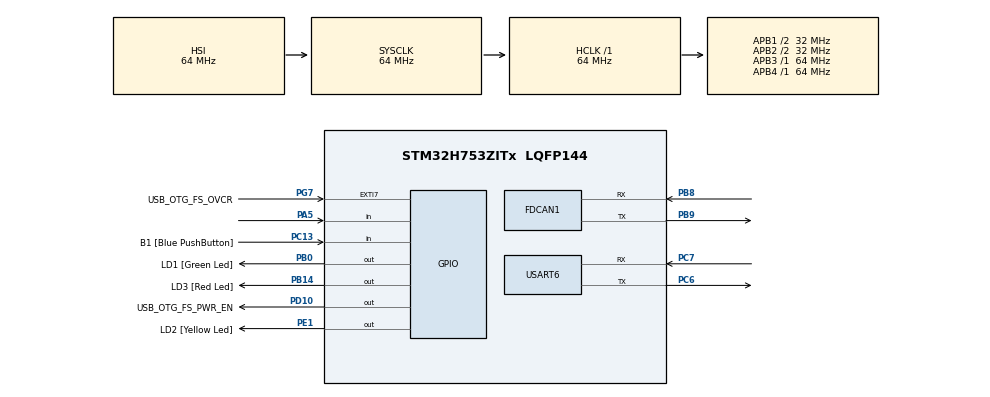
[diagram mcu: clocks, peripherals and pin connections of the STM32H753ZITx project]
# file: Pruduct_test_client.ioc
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CORTEX_M7.CPU_DCache=Disabled
CORTEX_M7.CPU_ICache=Disabled
CORTEX_M7.MPU_Control=__NULL
FDCAN1.AutoRetransmission=ENABLE
FDCAN1.CalculateBaudRateNominal=500000
FDCAN1.CalculateTimeBitNominal=2000
FDCAN1.CalculateTimeQuantumNominal=100.0
FDCAN1.DataPrescaler=5
FDCAN1.DataSyncJumpWidth=12
FDCAN1.DataTimeSeg1=4
FDCAN1.DataTimeSeg2=5
FDCAN1.FrameFormat=FDCAN_FRAME_FD_BRS
FDCAN1.NominalPrescaler=6
FDCAN1.NominalSyncJumpWidth=13
FDCAN1.NominalTimeSeg1=13
FDCAN1.NominalTimeSeg2=6
FDCAN1.RxBuffersNbr=1
FDCAN1.StdFiltersNbr=1
FDCAN1.TxBuffersNbr=1
Mcu.Family=STM32H7
Mcu.Name=STM32H753ZITx
Mcu.Package=LQFP144
NVIC.FDCAN1_IT0_IRQn=true\:0\:0\:false\:false\:true\:true\:true\:true
NVIC.FDCAN1_IT1_IRQn=true\:0\:0\:false\:false\:true\:true\:true\:true
NVIC.PriorityGroup=NVIC_PRIORITYGROUP_4
NVIC.USART6_IRQn=true\:0\:0\:false\:false\:true\:true\:true\:true
PA1.Signal=ETH_REF_CLK
PA11.Signal=USB_OTG_FS_DM
PA12.Signal=USB_OTG_FS_DP
PA13\ (JTMS/SWDIO).Mode=Serial_Wire
PA13\ (JTMS/SWDIO).Signal=DEBUG_JTMS-SWDIO
PA14\ (JTCK/SWCLK).Mode=Serial_Wire
PA14\ (JTCK/SWCLK).Signal=DEBUG_JTCK-SWCLK
PA2.Signal=ETH_MDIO
PA5.Signal=GPIO_Input
PA7.Signal=ETH_CRS_DV
PA8.Signal=USB_OTG_FS_SOF
PA9.Signal=USB_OTG_FS_VBUS
PB0.GPIO_Label=LD1 [Green Led]
PB0.Signal=GPIO_Output
PB13.Signal=ETH_TXD1
PB14.GPIO_Label=LD3 [Red Led]
PB14.Signal=GPIO_Output
PB8.Mode=FDCAN_Activate
PB8.Signal=FDCAN1_RX
PB9.Mode=FDCAN_Activate
PB9.Signal=FDCAN1_TX
PC1.Signal=ETH_MDC
PC13.GPIO_Label=B1 [Blue PushButton]
PC13.Signal=GPIO_Input
PC14-OSC32_IN\ (OSC32_IN).Mode=LSE-External-Oscillator
PC14-OSC32_IN\ (OSC32_IN).Signal=RCC_OSC32_IN
PC15-OSC32_OUT\ (OSC32_OUT).Mode=LSE-External-Oscillator
PC15-OSC32_OUT\ (OSC32_OUT).Signal=RCC_OSC32_OUT
PC4.Signal=ETH_RXD0
PC5.Signal=ETH_RXD1
PC6.Mode=Asynchronous
PC6.Signal=USART6_TX
PC7.Mode=Asynchronous
PC7.Signal=USART6_RX
PD10.GPIO_Label=USB_OTG_FS_PWR_EN
PD10.Signal=GPIO_Output
PD8.GPIO_Label=STLINK_RX
PD8.Signal=USART3_TX
PD9.GPIO_Label=STLINK_TX
PD9.Signal=USART3_RX
PE1.GPIO_Label=LD2 [Yellow Led]
PE1.Signal=GPIO_Output
PG11.Signal=ETH_TX_EN
PG13.Signal=ETH_TXD0
PG7.GPIO_Label=USB_OTG_FS_OVCR
PG7.Signal=GPXTI7
PH0-OSC_IN\ (PH0).Mode=HSE-External-Clock-Source
PH0-OSC_IN\ (PH0).Signal=RCC_OSC_IN
PH1-OSC_OUT\ (PH1).Signal=RCC_OSC_OUT
ProjectManager.HeapSize=0x200
ProjectManager.StackSize=0x400
ProjectManager.TargetToolchain=STM32CubeIDE
RCC.ADCFreq_Value=16125000
RCC.APB1Freq_Value=32000000
RCC.APB2Freq_Value=32000000
RCC.APB3Freq_Value=64000000
RCC.APB4Freq_Value=64000000
RCC.CortexFreq_Value=64000000
RCC.D2PPRE1=RCC_APB1_DIV2
RCC.D2PPRE2=RCC_APB2_DIV2
RCC.DIVM1=1
RCC.DIVN1=30
RCC.DIVQ1=4
RCC.HCLKFreq_Value=64000000
RCC.HSE_VALUE=8000000
RCC.PLL2FRACN=0
RCC.PLL3FRACN=0
RCC.PLLFRACN=0
RCC.PLLSourceVirtual=RCC_PLLSOURCE_HSE
RCC.PWR_Regulator_Voltage_Scale=PWR_REGULATOR_VOLTAGE_SCALE2
RCC.SYSCLKFreq_VALUE=64000000
RCC.USBFreq_Value=60000000
USART6.VirtualMode-Asynchronous=VM_ASYNC
VP_MEMORYMAP_VS_MEMORYMAP.Mode=CurAppReg
board=NUCLEO-H753ZI

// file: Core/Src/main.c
/* USER CODE BEGIN Header */
/**
 ******************************************************************************
 * @file           : main.c
 * @brief          : Main program body
 ******************************************************************************
 * @attention
 *
 * Copyright (c) 2024 STMicroelectronics.
 * All rights reserved.
 *
 * This software is licensed under terms that can be found in the LICENSE file
 * in the root directory of this software component.
 * If no LICENSE file comes with this software, it is provided AS-IS.
 *
 ******************************************************************************
 */
/* USER CODE END Header */
#include "main.h"

FDCAN_HandleTypeDef hfdcan1;

UART_HandleTypeDef huart6;

/* USER CODE BEGIN PV */
static uint8_t uart_buf[1] = { 0 };
FDCAN_TxHeaderTypeDef TxHeader;
uint8_t TxData[8] = { 0xA0, 0x5D };
FDCAN_RxHeaderTypeDef RxHeader;
uint8_t RxData[2];
/* USER CODE END PV */

void SystemClock_Config(void);
static void MX_GPIO_Init(void);
static void MX_USART6_UART_Init(void);
static void MX_FDCAN1_Init(void);
/* USER CODE BEGIN PFP */
static void FDCAN_Config(void);
/* USER CODE END PFP */

int main(void)
{

  /* MCU Configuration--------------------------------------------------------*/

  /* Reset of all peripherals, Initializes the Flash interface and the Systick. */
  HAL_Init();

  /* Configure the system clock */
  SystemClock_Config();

  /* Initialize all configured peripherals */
  MX_GPIO_Init();
  MX_USART6_UART_Init();
  MX_FDCAN1_Init();
  /* USER CODE BEGIN 2 */
	FDCAN_Config();
	if (HAL_UART_Receive_IT(&huart6, uart_buf, 1) != HAL_OK) {
		Error_Handler();
	}
	/*
	if (HAL_FDCAN_EnableTxBufferRequest(&hfdcan1, FDCAN_TX_BUFFER0) != HAL_OK) {
		Error_Handler();
	}
	*/
  /* USER CODE END 2 */

  /* Infinite loop */
	while (1) {

    /* USER CODE BEGIN 3 */
		HAL_GPIO_TogglePin(LD1_GPIO_Port, LD1_Pin);
		HAL_Delay(500);
	}
  /* USER CODE END 3 */
}

void SystemClock_Config(void)
{
  RCC_OscInitTypeDef RCC_OscInitStruct = {0};
  RCC_ClkInitTypeDef RCC_ClkInitStruct = {0};

  /** Supply configuration update enable
  */
  HAL_PWREx_ConfigSupply(PWR_LDO_SUPPLY);

  /** Configure the main internal regulator output voltage
  */
  __HAL_PWR_VOLTAGESCALING_CONFIG(PWR_REGULATOR_VOLTAGE_SCALE2);

  while(!__HAL_PWR_GET_FLAG(PWR_FLAG_VOSRDY)) {}

  /** Initializes the RCC Oscillators according to the specified parameters
  * in the RCC_OscInitTypeDef structure.
  */
  RCC_OscInitStruct.OscillatorType = RCC_OSCILLATORTYPE_HSI|RCC_OSCILLATORTYPE_HSE;
  RCC_OscInitStruct.HSEState = RCC_HSE_BYPASS;
  RCC_OscInitStruct.HSIState = RCC_HSI_DIV1;
  RCC_OscInitStruct.HSICalibrationValue = RCC_HSICALIBRATION_DEFAULT;
  RCC_OscInitStruct.PLL.PLLState = RCC_PLL_ON;
  RCC_OscInitStruct.PLL.PLLSource = RCC_PLLSOURCE_HSE;
  RCC_OscInitStruct.PLL.PLLM = 1;
  RCC_OscInitStruct.PLL.PLLN = 30;
  RCC_OscInitStruct.PLL.PLLP = 2;
  RCC_OscInitStruct.PLL.PLLQ = 4;
  RCC_OscInitStruct.PLL.PLLR = 2;
  RCC_OscInitStruct.PLL.PLLRGE = RCC_PLL1VCIRANGE_3;
  RCC_OscInitStruct.PLL.PLLVCOSEL = RCC_PLL1VCOWIDE;
  RCC_OscInitStruct.PLL.PLLFRACN = 0;
  if (HAL_RCC_OscConfig(&RCC_OscInitStruct) != HAL_OK)
  {
    Error_Handler();
  }

  /** Initializes the CPU, AHB and APB buses clocks
  */
  RCC_ClkInitStruct.ClockType = RCC_CLOCKTYPE_HCLK|RCC_CLOCKTYPE_SYSCLK
                              |RCC_CLOCKTYPE_PCLK1|RCC_CLOCKTYPE_PCLK2
                              |RCC_CLOCKTYPE_D3PCLK1|RCC_CLOCKTYPE_D1PCLK1;
  RCC_ClkInitStruct.SYSCLKSource = RCC_SYSCLKSOURCE_HSI;
  RCC_ClkInitStruct.SYSCLKDivider = RCC_SYSCLK_DIV1;
  RCC_ClkInitStruct.AHBCLKDivider = RCC_HCLK_DIV1;
  RCC_ClkInitStruct.APB3CLKDivider = RCC_APB3_DIV1;
  RCC_ClkInitStruct.APB1CLKDivider = RCC_APB1_DIV2;
  RCC_ClkInitStruct.APB2CLKDivider = RCC_APB2_DIV2;
  RCC_ClkInitStruct.APB4CLKDivider = RCC_APB4_DIV1;

  if (HAL_RCC_ClockConfig(&RCC_ClkInitStruct, FLASH_LATENCY_1) != HAL_OK)
  {
    Error_Handler();
  }
}

static void MX_FDCAN1_Init(void)
{

  hfdcan1.Instance = FDCAN1;
  hfdcan1.Init.FrameFormat = FDCAN_FRAME_FD_BRS;
  hfdcan1.Init.Mode = FDCAN_MODE_NORMAL;
  hfdcan1.Init.AutoRetransmission = ENABLE;
  hfdcan1.Init.TransmitPause = DISABLE;
  hfdcan1.Init.ProtocolException = DISABLE;
  hfdcan1.Init.NominalPrescaler = 6;
  hfdcan1.Init.NominalSyncJumpWidth = 13;
  hfdcan1.Init.NominalTimeSeg1 = 13;
  hfdcan1.Init.NominalTimeSeg2 = 6;
  hfdcan1.Init.DataPrescaler = 5;
  hfdcan1.Init.DataSyncJumpWidth = 12;
  hfdcan1.Init.DataTimeSeg1 = 4;
  hfdcan1.Init.DataTimeSeg2 = 5;
  hfdcan1.Init.MessageRAMOffset = 0;
  hfdcan1.Init.StdFiltersNbr = 1;
  hfdcan1.Init.ExtFiltersNbr = 0;
  hfdcan1.Init.RxFifo0ElmtsNbr = 0;
  hfdcan1.Init.RxFifo0ElmtSize = FDCAN_DATA_BYTES_8;
  hfdcan1.Init.RxFifo1ElmtsNbr = 0;
  hfdcan1.Init.RxFifo1ElmtSize = FDCAN_DATA_BYTES_8;
  hfdcan1.Init.RxBuffersNbr = 1;
  hfdcan1.Init.RxBufferSize = FDCAN_DATA_BYTES_8;
  hfdcan1.Init.TxEventsNbr = 0;
  hfdcan1.Init.TxBuffersNbr = 1;
  hfdcan1.Init.TxFifoQueueElmtsNbr = 0;
  hfdcan1.Init.TxFifoQueueMode = FDCAN_TX_FIFO_OPERATION;
  hfdcan1.Init.TxElmtSize = FDCAN_DATA_BYTES_8;
  if (HAL_FDCAN_Init(&hfdcan1) != HAL_OK)
  {
    Error_Handler();
  }

}

static void MX_USART6_UART_Init(void)
{

  huart6.Instance = USART6;
  huart6.Init.BaudRate = 115200;
  huart6.Init.WordLength = UART_WORDLENGTH_8B;
  huart6.Init.StopBits = UART_STOPBITS_1;
  huart6.Init.Parity = UART_PARITY_NONE;
  huart6.Init.Mode = UART_MODE_TX_RX;
  huart6.Init.HwFlowCtl = UART_HWCONTROL_NONE;
  huart6.Init.OverSampling = UART_OVERSAMPLING_16;
  huart6.Init.OneBitSampling = UART_ONE_BIT_SAMPLE_DISABLE;
  huart6.Init.ClockPrescaler = UART_PRESCALER_DIV1;
  huart6.AdvancedInit.AdvFeatureInit = UART_ADVFEATURE_NO_INIT;
  if (HAL_UART_Init(&huart6) != HAL_OK)
  {
    Error_Handler();
  }
  if (HAL_UARTEx_SetTxFifoThreshold(&huart6, UART_TXFIFO_THRESHOLD_1_8) != HAL_OK)
  {
    Error_Handler();
  }
  if (HAL_UARTEx_SetRxFifoThreshold(&huart6, UART_RXFIFO_THRESHOLD_1_8) != HAL_OK)
  {
    Error_Handler();
  }
  if (HAL_UARTEx_DisableFifoMode(&huart6) != HAL_OK)
  {
    Error_Handler();
  }

}

static void MX_GPIO_Init(void)
{
  GPIO_InitTypeDef GPIO_InitStruct = {0};

  /* GPIO Ports Clock Enable */
  __HAL_RCC_GPIOC_CLK_ENABLE();
  __HAL_RCC_GPIOH_CLK_ENABLE();
  __HAL_RCC_GPIOA_CLK_ENABLE();
  __HAL_RCC_GPIOB_CLK_ENABLE();
  __HAL_RCC_GPIOD_CLK_ENABLE();
  __HAL_RCC_GPIOG_CLK_ENABLE();
  __HAL_RCC_GPIOE_CLK_ENABLE();

  /*Configure GPIO pin Output Level */
  HAL_GPIO_WritePin(GPIOB, LD1_Pin|LD3_Pin, GPIO_PIN_RESET);

  /*Configure GPIO pin Output Level */
  HAL_GPIO_WritePin(USB_OTG_FS_PWR_EN_GPIO_Port, USB_OTG_FS_PWR_EN_Pin, GPIO_PIN_RESET);

  /*Configure GPIO pin Output Level */
  HAL_GPIO_WritePin(LD2_GPIO_Port, LD2_Pin, GPIO_PIN_RESET);

  /*Configure GPIO pin : B1_Pin */
  GPIO_InitStruct.Pin = B1_Pin;
  GPIO_InitStruct.Mode = GPIO_MODE_INPUT;
  GPIO_InitStruct.Pull = GPIO_NOPULL;
  HAL_GPIO_Init(B1_GPIO_Port, &GPIO_InitStruct);

  /*Configure GPIO pins : PC1 PC4 PC5 */
  GPIO_InitStruct.Pin = GPIO_PIN_1|GPIO_PIN_4|GPIO_PIN_5;
  GPIO_InitStruct.Mode = GPIO_MODE_AF_PP;
  GPIO_InitStruct.Pull = GPIO_NOPULL;
  GPIO_InitStruct.Speed = GPIO_SPEED_FREQ_LOW;
  GPIO_InitStruct.Alternate = GPIO_AF11_ETH;
  HAL_GPIO_Init(GPIOC, &GPIO_InitStruct);

  /*Configure GPIO pins : PA1 PA2 PA7 */
  GPIO_InitStruct.Pin = GPIO_PIN_1|GPIO_PIN_2|GPIO_PIN_7;
  GPIO_InitStruct.Mode = GPIO_MODE_AF_PP;
  GPIO_InitStruct.Pull = GPIO_NOPULL;
  GPIO_InitStruct.Speed = GPIO_SPEED_FREQ_LOW;
  GPIO_InitStruct.Alternate = GPIO_AF11_ETH;
  HAL_GPIO_Init(GPIOA, &GPIO_InitStruct);

  /*Configure GPIO pin : PA5 */
  GPIO_InitStruct.Pin = GPIO_PIN_5;
  GPIO_InitStruct.Mode = GPIO_MODE_INPUT;
  GPIO_InitStruct.Pull = GPIO_NOPULL;
  HAL_GPIO_Init(GPIOA, &GPIO_InitStruct);

  /*Configure GPIO pins : LD1_Pin LD3_Pin */
  GPIO_InitStruct.Pin = LD1_Pin|LD3_Pin;
  GPIO_InitStruct.Mode = GPIO_MODE_OUTPUT_PP;
  GPIO_InitStruct.Pull = GPIO_NOPULL;
  GPIO_InitStruct.Speed = GPIO_SPEED_FREQ_LOW;
  HAL_GPIO_Init(GPIOB, &GPIO_InitStruct);

  /*Configure GPIO pin : PB13 */
  GPIO_InitStruct.Pin = GPIO_PIN_13;
  GPIO_InitStruct.Mode = GPIO_MODE_AF_PP;
  GPIO_InitStruct.Pull = GPIO_NOPULL;
  GPIO_InitStruct.Speed = GPIO_SPEED_FREQ_LOW;
  GPIO_InitStruct.Alternate = GPIO_AF11_ETH;
  HAL_GPIO_Init(GPIOB, &GPIO_InitStruct);

  /*Configure GPIO pins : STLINK_RX_Pin STLINK_TX_Pin */
  GPIO_InitStruct.Pin = STLINK_RX_Pin|STLINK_TX_Pin;
  GPIO_InitStruct.Mode = GPIO_MODE_AF_PP;
  GPIO_InitStruct.Pull = GPIO_NOPULL;
  GPIO_InitStruct.Speed = GPIO_SPEED_FREQ_LOW;
  GPIO_InitStruct.Alternate = GPIO_AF7_USART3;
  HAL_GPIO_Init(GPIOD, &GPIO_InitStruct);

  /*Configure GPIO pin : USB_OTG_FS_PWR_EN_Pin */
  GPIO_InitStruct.Pin = USB_OTG_FS_PWR_EN_Pin;
  GPIO_InitStruct.Mode = GPIO_MODE_OUTPUT_PP;
  GPIO_InitStruct.Pull = GPIO_NOPULL;
  GPIO_InitStruct.Speed = GPIO_SPEED_FREQ_LOW;
  HAL_GPIO_Init(USB_OTG_FS_PWR_EN_GPIO_Port, &GPIO_InitStruct);

  /*Configure GPIO pin : USB_OTG_FS_OVCR_Pin */
  GPIO_InitStruct.Pin = USB_OTG_FS_OVCR_Pin;
  GPIO_InitStruct.Mode = GPIO_MODE_IT_RISING;
  GPIO_InitStruct.Pull = GPIO_NOPULL;
  HAL_GPIO_Init(USB_OTG_FS_OVCR_GPIO_Port, &GPIO_InitStruct);

  /*Configure GPIO pins : PA8 PA11 PA12 */
  GPIO_InitStruct.Pin = GPIO_PIN_8|GPIO_PIN_11|GPIO_PIN_12;
  GPIO_InitStruct.Mode = GPIO_MODE_AF_PP;
  GPIO_InitStruct.Pull = GPIO_NOPULL;
  GPIO_InitStruct.Speed = GPIO_SPEED_FREQ_LOW;
  GPIO_InitStruct.Alternate = GPIO_AF10_OTG1_FS;
  HAL_GPIO_Init(GPIOA, &GPIO_InitStruct);

  /*Configure GPIO pins : PG11 PG13 */
  GPIO_InitStruct.Pin = GPIO_PIN_11|GPIO_PIN_13;
  GPIO_InitStruct.Mode = GPIO_MODE_AF_PP;
  GPIO_InitStruct.Pull = GPIO_NOPULL;
  GPIO_InitStruct.Speed = GPIO_SPEED_FREQ_LOW;
  GPIO_InitStruct.Alternate = GPIO_AF11_ETH;
  HAL_GPIO_Init(GPIOG, &GPIO_InitStruct);

  /*Configure GPIO pin : LD2_Pin */
  GPIO_InitStruct.Pin = LD2_Pin;
  GPIO_InitStruct.Mode = GPIO_MODE_OUTPUT_PP;
  GPIO_InitStruct.Pull = GPIO_NOPULL;
  GPIO_InitStruct.Speed = GPIO_SPEED_FREQ_LOW;
  HAL_GPIO_Init(LD2_GPIO_Port, &GPIO_InitStruct);

}

/* USER CODE BEGIN 4 */
void HAL_UART_RxCpltCallback(UART_HandleTypeDef *huart) {
	uint8_t c = uart_buf[0];
	HAL_UART_Transmit(huart, &c, 1, 100);
	HAL_UART_Receive_IT(&huart6, uart_buf, 1);
}
void HAL_UART_ErrorCallback(UART_HandleTypeDef *huart) {
}

static void FDCAN_Config(void) {
	FDCAN_FilterTypeDef sFilterConfig;

	/* Configure Rx filter */
	sFilterConfig.IdType = FDCAN_STANDARD_ID;
	sFilterConfig.FilterIndex = 0;
	//sFilterConfig.FilterType = FDCAN_FILTER_MASK;
	sFilterConfig.FilterConfig = FDCAN_FILTER_TO_RXBUFFER;
	sFilterConfig.FilterID2 = 0x321;
	sFilterConfig.RxBufferIndex = 0;
	//sFilterConfig.FilterID2 = 0x7FF;
	if (HAL_FDCAN_ConfigFilter(&hfdcan1, &sFilterConfig) != HAL_OK) {
		/* Filter configuration Error */
		Error_Handler();
	}
	/* Prepare Tx Header */
	TxHeader.Identifier = 0x1;
	TxHeader.IdType = FDCAN_STANDARD_ID;
	TxHeader.TxFrameType = FDCAN_DATA_FRAME;
	TxHeader.DataLength = FDCAN_DLC_BYTES_2;
	TxHeader.ErrorStateIndicator = FDCAN_ESI_ACTIVE;
	TxHeader.BitRateSwitch = FDCAN_BRS_ON;
	TxHeader.FDFormat = FDCAN_FD_CAN;
	TxHeader.TxEventFifoControl = FDCAN_NO_TX_EVENTS;
	TxHeader.MessageMarker = 0; //ignore because FDCAN_NO_TX_EVENTS

	/* Start the FDCAN module */
	if (HAL_FDCAN_Start(&hfdcan1) != HAL_OK) {
		/* Start Error */
		Error_Handler();
	}
	HAL_FDCAN_ActivateNotification(&hfdcan1, FDCAN_IT_RX_FIFO0_FULL, 0);
}

void HAL_FDCAN_RxFifo0Callback(FDCAN_HandleTypeDef *hfdcan, uint32_t RxFifo0ITs) {
	if ((RxFifo0ITs & FDCAN_IT_RX_FIFO0_NEW_MESSAGE) != RESET) {
		/* Retreive Rx messages from RX FIFO0 */
		if (HAL_FDCAN_GetRxMessage(hfdcan, FDCAN_RX_FIFO0, &RxHeader, RxData)
				!= HAL_OK) {
			/* Reception Error */
			Error_Handler();
		}

		/* Display LEDx */
		if ((RxHeader.Identifier == 0x321)
				&& (RxHeader.IdType == FDCAN_STANDARD_ID)
				&& (RxHeader.DataLength == FDCAN_DLC_BYTES_2)) {
			if (HAL_FDCAN_AddMessageToTxBuffer(&hfdcan1, &TxHeader, TxData,
					FDCAN_TX_BUFFER0) != HAL_OK) {
				Error_Handler();
			}
		}

		if (HAL_FDCAN_ActivateNotification(hfdcan,
				FDCAN_IT_RX_FIFO0_NEW_MESSAGE, 0) != HAL_OK) {
			/* Notification Error */
			Error_Handler();
		}
	}
}
void HAL_FDCAN_RxBufferNewMessageCallback(FDCAN_HandleTypeDef *hfdcan) {
	int i = 0;
}

/* USER CODE END 4 */

void Error_Handler(void)
{
	__disable_irq();
	while (1) {
	}
}
